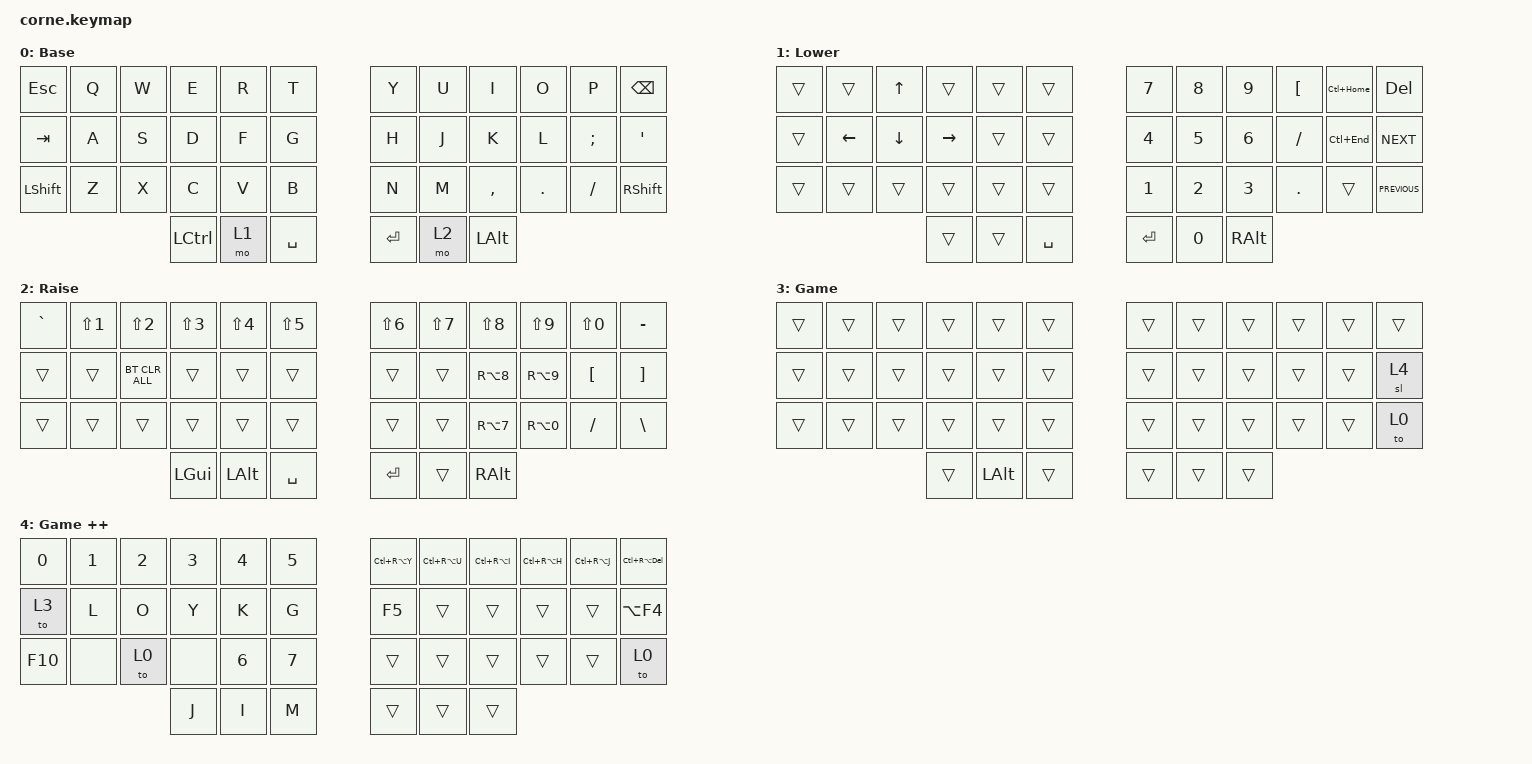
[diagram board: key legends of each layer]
/*
 * Copyright (c) 2020 The ZMK Contributors
 *
 * SPDX-License-Identifier: MIT
 */

#include <behaviors.dtsi>
#include <dt-bindings/zmk/bt.h>
#include <dt-bindings/zmk/keys.h>

/ {
    combos {
        compatible = "zmk,combos";

        Windows_D {
            bindings = <&kp LG(D)>;
            key-positions = <36 15>;
        };

        Windows_E {
            bindings = <&kp LG(E)>;
            key-positions = <3 36>;
        };

        Windows_tab {
            bindings = <&kp LG(TAB)>;
            key-positions = <36 12>;
        };

        OpenParenthesis {
            bindings = <&kp LS(N8)>;
            key-positions = <7 8>;
        };

        OpenBrace {
            bindings = <&kp RA(N7)>;
            key-positions = <19 20>;
        };

        OpenBracket {
            bindings = <&kp RA(N8)>;
            key-positions = <31 32>;
        };

        CloseParenthesis {
            bindings = <&kp LS(N9)>;
            key-positions = <8 9>;
        };

        CloseBrace {
            bindings = <&kp RA(N0)>;
            key-positions = <20 21>;
        };

        CloseBracket {
            bindings = <&kp RA(N9)>;
            key-positions = <32 33>;
        };

        LessThan {
            bindings = <&kp NON_US_BACKSLASH>;
            key-positions = <25 26>;
        };

        GreaterThan {
            bindings = <&kp LS(NON_US_BACKSLASH)>;
            key-positions = <26 27>;
        };

        Shift_Delete {
            bindings = <&kp LS(DEL)>;
            key-positions = <24 11>;
        };
    };

    keymap {
        compatible = "zmk,keymap";

        Base {
            // -----------------------------------------------------------------------------------------
            // |  TAB |  Q  |  W  |  E  |  R  |  T  |   |  Y  |  U   |  I  |  O  |  P  | BKSP |
            // | CTRL |  A  |  S  |  D  |  F  |  G  |   |  H  |  J   |  K  |  L  |  ;  |  '   |
            // | SHFT |  Z  |  X  |  C  |  V  |  B  |   |  N  |  M   |  ,  |  .  |  /  | ESC  |
            //                    | GUI | LWR | SPC |   | ENT | RSE  | ALT |

            label = "Base";
            bindings = <
&kp ESCAPE  &kp Q  &kp W  &kp E      &kp R  &kp T        &kp Y    &kp U  &kp I      &kp O    &kp P     &kp BSPC
&kp TAB     &kp A  &kp S  &kp D      &kp F  &kp G        &kp H    &kp J  &kp K      &kp L    &kp SEMI  &kp APOS
&kp LSHFT   &kp Z  &kp X  &kp C      &kp V  &kp B        &kp N    &kp M  &kp COMMA  &kp DOT  &kp FSLH  &kp RSHIFT
                          &kp LCTRL  &mo 1  &kp SPACE    &kp RET  &mo 2  &kp LALT
            >;
        };

        Lower {
            // -----------------------------------------------------------------------------------------
            // |  TAB |  1  |  2  |  3  |  4  |  5  |   |  6  |  7  |  8  |  9  |  0  | BKSP |
            // | BTCLR| BT1 | BT2 | BT3 | BT4 | BT5 |   | LFT | DWN |  UP | RGT |     |      |
            // | SHFT |     |     |     |     |     |   |     |     |     |     |     |      |
            //                    | GUI |     | SPC |   | ENT |     | ALT |

            label = "Lower";
            bindings = <
&trans  &trans    &kp UP    &trans     &trans  &trans       &kp N7   &kp N8  &kp N9    &kp LBKT  &kp LC(HOME)  &kp DEL
&trans  &kp LEFT  &kp DOWN  &kp RIGHT  &trans  &trans       &kp N4   &kp N5  &kp N6    &kp FSLH  &kp LC(END)   &kp C_NEXT
&trans  &trans    &trans    &trans     &trans  &trans       &kp N1   &kp N2  &kp N3    &kp DOT   &trans        &kp C_PREVIOUS
                            &trans     &trans  &kp SPACE    &kp RET  &kp N0  &kp RALT
            >;
        };

        Raise {
            // -----------------------------------------------------------------------------------------
            // |  TAB |  !  |  @  |  #  |  $  |  %  |   |  ^  |  &  |  *  |  (  |  )  | BKSP |
            // | CTRL |     |     |     |     |     |   |  -  |  =  |  [  |  ]  |  \  |  `   |
            // | SHFT |     |     |     |     |     |   |  _  |  +  |  {  |  }  | "|" |  ~   |
            //                    | GUI |     | SPC |   | ENT |     | ALT |

            label = "Raise";
            bindings = <
&kp GRAVE  &kp LS(NUMBER_1)  &kp LS(NUMBER_2)  &kp LS(N3)  &kp LS(N4)    &kp LS(N5)    &kp LS(N6)  &kp LS(N7)  &kp LS(N8)  &kp LS(N9)  &kp LS(N0)  &kp MINUS
&trans     &trans            &bt BT_CLR_ALL    &trans      &trans        &trans        &trans      &trans      &kp RA(N8)  &kp RA(N9)  &kp LBKT    &kp RBKT
&trans     &trans            &trans            &trans      &trans        &trans        &trans      &trans      &kp RA(N7)  &kp RA(N0)  &kp FSLH    &kp BSLH
                                               &kp LGUI    &kp LEFT_ALT  &kp SPACE     &kp RET     &trans      &kp RALT
            >;
        };

        Game {
            label = "Game";
            bindings = <
&trans  &trans  &trans  &trans  &trans    &trans    &trans  &trans  &trans  &trans  &trans  &trans
&trans  &trans  &trans  &trans  &trans    &trans    &trans  &trans  &trans  &trans  &trans  &sl 4
&trans  &trans  &trans  &trans  &trans    &trans    &trans  &trans  &trans  &trans  &trans  &to 0
                        &trans  &kp LALT  &trans    &trans  &trans  &trans
            >;
        };

        Game_++ {
            label = "Game ++";
            bindings = <
&kp N0   &kp NUMBER_1  &kp NUMBER_2  &kp NUMBER_3  &kp NUMBER_4  &kp NUMBER_5    &kp LC(RA(Y))  &kp LC(RA(U))  &kp LC(RA(I))  &kp LC(RA(H))  &kp LC(RA(J))  &kp LC(RA(DEL))
&to 3    &kp L         &kp O         &kp Y         &kp K         &kp G           &kp F5         &trans         &trans         &trans         &trans         &kp LA(F4)
&kp F10  &none         &to 0         &none         &kp NUMBER_6  &kp NUMBER_7    &trans         &trans         &trans         &trans         &trans         &to 0
                                     &kp J         &kp I         &kp M           &trans         &trans         &trans
            >;
        };
    };
};

&nice_view_spi { cs-gpios = <&pro_micro 0 GPIO_ACTIVE_HIGH>; };
